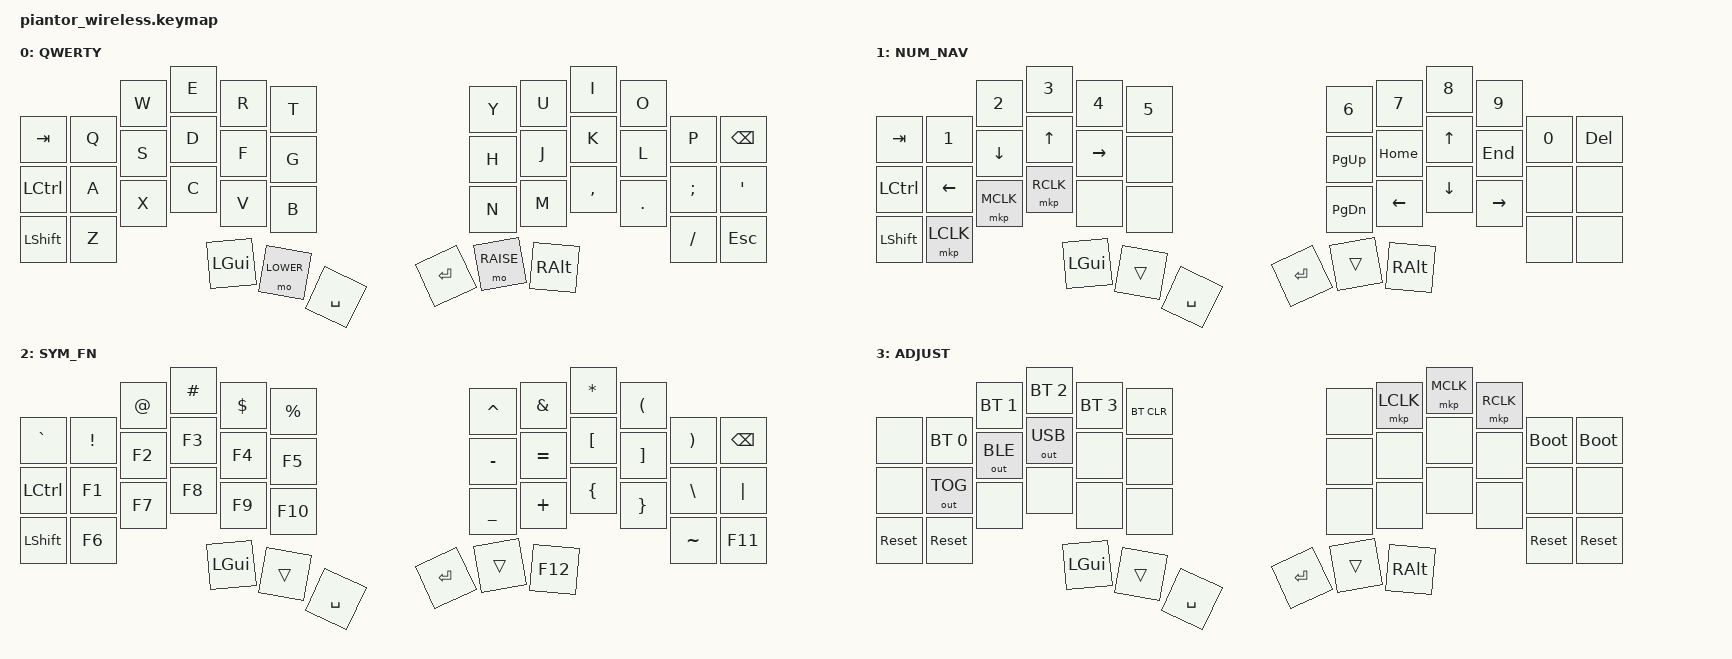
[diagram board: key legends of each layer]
#include <behaviors.dtsi>
#include <dt-bindings/zmk/keys.h>
#include <dt-bindings/zmk/bt.h>
#include <dt-bindings/zmk/outputs.h>
#include <dt-bindings/zmk/pointing.h>

/*
 * Piantor Wireless TPS43 默认键位配置 (42 键为基础，支持 ZMK Studio 无损切换 42 ⇄ 36 键)
 * 若希望编译时默认即为 36 键（已折断第 6 列），取消下方 chosen 注释即可：
 *
 * / {
 *     chosen {
 *         zmk,physical-layout = &physical_layout_36;
 *     };
 * };
 */

#define BASE   0
#define LOWER  1
#define RAISE  2
#define ADJUST 3

/ {
    conditional_layers {
        compatible = "zmk,conditional-layers";
        tri_layer {
            if-layers = <LOWER RAISE>;
            then-layer = <ADJUST>;
        };
    };

    keymap {
        compatible = "zmk,keymap";

        default_layer {
            display-name = "QWERTY";
            bindings = <
                &kp TAB    &kp Q  &kp W  &kp E     &kp R     &kp T        &kp Y     &kp U     &kp I      &kp O    &kp P     &kp BSPC
                &kp LCTRL  &kp A  &kp S  &kp D     &kp F     &kp G        &kp H     &kp J     &kp K      &kp L    &kp SEMI  &kp SQT
                &kp LSHFT  &kp Z  &kp X  &kp C     &kp V     &kp B        &kp N     &kp M     &kp COMMA  &kp DOT  &kp FSLH  &kp ESC
                                         &kp LGUI  &mo LOWER &kp SPACE    &kp RET   &mo RAISE &kp RALT
            >;
        };

        lower_layer {
            display-name = "NUM_NAV";
            bindings = <
                &kp TAB    &kp N1    &kp N2    &kp N3    &kp N4    &kp N5      &kp N6    &kp N7    &kp N8    &kp N9     &kp N0   &kp DEL
                &kp LCTRL  &kp LEFT  &kp DOWN  &kp UP    &kp RIGHT &none       &kp PG_UP &kp HOME  &kp UP    &kp END    &none    &none
                &kp LSHFT  &mkp LCLK &mkp MCLK &mkp RCLK &none     &none       &kp PG_DN &kp LEFT  &kp DOWN  &kp RIGHT  &none    &none
                                               &kp LGUI  &trans    &kp SPACE   &kp RET   &trans    &kp RALT
            >;
        };

        raise_layer {
            display-name = "SYM_FN";
            bindings = <
                &kp GRAVE  &kp EXCL  &kp AT    &kp HASH  &kp DLLR  &kp PRCNT   &kp CARET &kp AMPS  &kp ASTRK &kp LPAR   &kp RPAR  &kp BSPC
                &kp LCTRL  &kp F1    &kp F2    &kp F3    &kp F4    &kp F5      &kp MINUS &kp EQUAL &kp LBKT  &kp RBKT   &kp BSLH  &kp PIPE
                &kp LSHFT  &kp F6    &kp F7    &kp F8    &kp F9    &kp F10     &kp UNDER &kp PLUS  &kp LBRC  &kp RBRC   &kp TILDE &kp F11
                                               &kp LGUI  &trans    &kp SPACE   &kp RET   &trans    &kp F12
            >;
        };

        adjust_layer {
            display-name = "ADJUST";
            bindings = <
                &none       &bt BT_SEL 0 &bt BT_SEL 1 &bt BT_SEL 2 &bt BT_SEL 3 &bt BT_CLR      &none     &mkp LCLK &mkp MCLK &mkp RCLK &bootloader &bootloader
                &none       &out OUT_TOG &out OUT_BLE &out OUT_USB &none        &none           &none     &none     &none     &none     &none       &none
                &sys_reset  &sys_reset   &none        &none        &none        &none           &none     &none     &none     &none     &sys_reset  &sys_reset
                                                      &kp LGUI     &trans       &kp SPACE       &kp RET   &trans    &kp RALT
            >;
        };
    };
};
